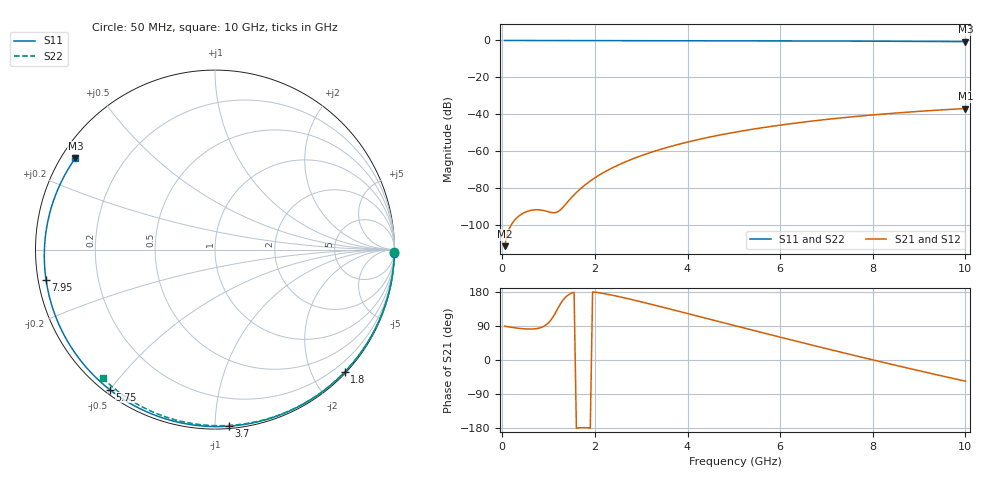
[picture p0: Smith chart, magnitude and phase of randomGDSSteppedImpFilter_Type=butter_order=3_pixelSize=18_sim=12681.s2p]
! freq	dB(S11)	phase(S11)	dB(S12)	phase(S12)
!  dB(S21)	phase(S21)	dB(S22)	phase(S22)
!S-par simulation data
#  GHz  S  DB  R 50
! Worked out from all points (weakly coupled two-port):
!   200 points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, 50 MHz to 10 GHz, reference 50 ohm
!   highest |S21| = -36.86 dB at 10 GHz (marker M1); lowest = -111.4 dB at 50 MHz (marker M2)
!   lowest |S11| = -0.6 dB at 10 GHz (marker M3), VSWR 27.61, Z = 1.97 + j14.9 ohm
!   |S11| at or under -10 dB: nowhere
!   |S22| runs from -0.4 to 0.0 dB; largest |S21 - S12| = 0
!   S11 on the Smith chart (normalised r, x): 50 MHz: 0, -92; 1.8 GHz: 0.02, -2.52; 3.7 GHz: 0.01, -1.08; 5.75 GHz: 0.02, -0.50; 7.95 GHz: 0.02, -0.09; 10 GHz: 0.04, +0.30
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0.05  -0.00 -1.2  -111.38 89.2  -111.38 89.2  -0.00 -0.8
0.45  -0.01 -11.0  -93.52 82.5  -93.52 82.5  -0.01 -6.8
0.85  -0.03 -20.7  -91.88 86.4  -91.88 86.4  -0.02 -12.8
1.25  -0.04 -30.3  -91.81 147.2  -91.81 147.2  -0.02 -18.8
1.7  -0.05 -41.0  -80.02 -178.6  -80.02 -178.6  -0.03 -25.4
1.75  -0.05 -42.2  -78.96 -178.5  -78.96 -178.5  -0.03 -26.1
1.8  -0.05 -43.3  -77.95 -178.6  -77.95 -178.6  -0.03 -26.9
2.1  -0.06 -50.3  -72.78 177.3  -72.78 177.3  -0.04 -31.2
2.5  -0.08 -59.4  -67.49 167.7  -67.49 167.7  -0.05 -37.0
2.9  -0.09 -68.3  -63.30 156.5  -63.30 156.5  -0.06 -42.7
3.4  -0.10 -79.2  -59.08 141.4  -59.08 141.4  -0.07 -49.8
3.7  -0.11 -85.6  -56.93 132.1  -56.93 132.1  -0.07 -53.9
4.35  -0.14 -99.1  -52.99 111.7  -52.99 111.7  -0.09 -62.8
5.05  -0.17 -113.2  -49.56 89.7  -49.56 89.7  -0.11 -72.0
5.75  -0.21 -126.9  -46.73 68.0  -46.73 68.0  -0.14 -81.0
6.7  -0.28 -145.3  -43.60 38.9  -43.60 38.9  -0.18 -92.8
7.35  -0.33 -157.9  -41.84 19.4  -41.84 19.4  -0.22 -100.7
7.95  -0.39 -169.7  -40.42 1.8  -40.42 1.8  -0.26 -107.7
8.35  -0.43 -177.8  -39.59 -9.9  -39.59 -9.9  -0.29 -112.4
8.8  -0.48 173.0  -38.73 -22.7  -38.73 -22.7  -0.32 -117.5
9.2  -0.53 164.5  -38.05 -34.0  -38.05 -34.0  -0.36 -122.1
10  -0.63 146.7  -36.86 -55.9  -36.86 -55.9  -0.44 -131.1
